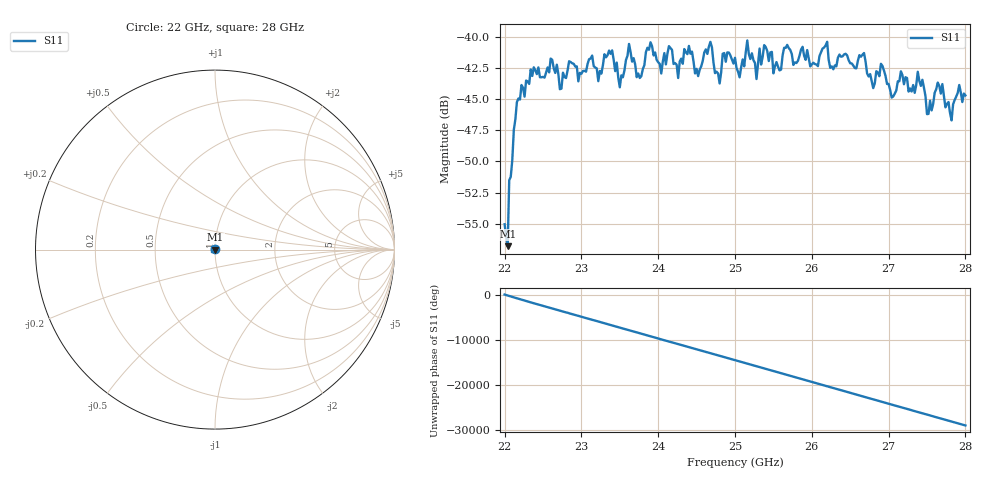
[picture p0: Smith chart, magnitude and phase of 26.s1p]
#  HZ  S  RI  R  50.00
! Rohde & Schwarz ZVA40 4Ports - Version 3.90 - 1145.1110k42 SN: 100403
! Date: 2023-10-04 10:30:36
! Measurement: S12
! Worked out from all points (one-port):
!   301 points, 22 GHz to 28 GHz, reference 50 ohm
!   lowest |S11| = -56.8 dB at 22.04 GHz (marker M1), VSWR 1.00, Z = 50.1 - j0.117 ohm
!   |S11| at or under -10 dB: start of sweep to end of sweep
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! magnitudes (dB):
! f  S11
! 22 GHz  -55.1
! 22.04 GHz  -56.8
! 22.06 GHz  -51.5
! 22.22 GHz  -43.8
! 22.76 GHz  -42.9
! 23.14 GHz  -41.5
! 23.22 GHz  -43.5
! 23.4 GHz  -41.0
! 23.5 GHz  -44.0
! 23.62 GHz  -40.5
! 23.72 GHz  -43.2
! 23.9 GHz  -40.4
! 24.26 GHz  -43.3
! 24.4 GHz  -40.7
! 24.52 GHz  -43.1
! 24.68 GHz  -40.4
! 24.8 GHz  -43.7
! 24.84 GHz  -41.3
! 25 GHz  -41.6
! 25.76 GHz  -42.2
! 26.2 GHz  -40.4
! 26.5 GHz  -42.1
! 27.26 GHz  -44.4
! 27.38 GHz  -42.8
! 27.52 GHz  -46.2
! 27.7 GHz  -43.8
! 27.82 GHz  -46.7
! 28 GHz  -44.7
